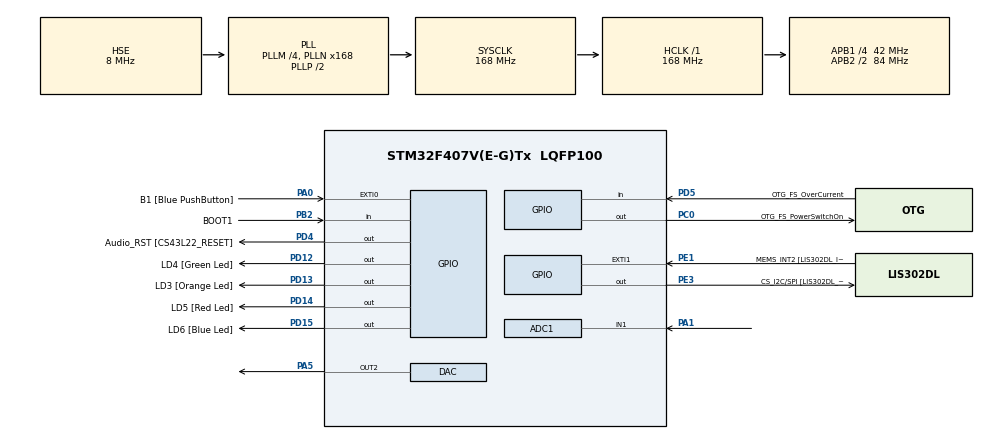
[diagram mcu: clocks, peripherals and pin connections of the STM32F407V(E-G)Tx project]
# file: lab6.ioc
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ADC1.Channel-0\#ChannelRegularConversion=ADC_CHANNEL_1
ADC1.ExternalTrigConv=ADC_EXTERNALTRIGCONV_T3_TRGO
ADC1.NbrOfConversionFlag=1
ADC1.Rank-0\#ChannelRegularConversion=1
ADC1.SamplingTime-0\#ChannelRegularConversion=ADC_SAMPLETIME_3CYCLES
ADC1.master=1
ARM.CMSIS.5.6.0.CMSISJjDSP=Source
DAC.DAC_Trigger2=DAC_TRIGGER_NONE
Mcu.Family=STM32F4
Mcu.Name=STM32F407V(E-G)Tx
Mcu.Package=LQFP100
NVIC.ADC_IRQn=true\:0\:0\:false\:false\:true\:true\:true\:true
NVIC.PriorityGroup=NVIC_PRIORITYGROUP_0
NVIC.TIM2_IRQn=true\:0\:0\:false\:false\:true\:true\:true\:true
PA0-WKUP.GPIO_Label=B1 [Blue PushButton]
PA0-WKUP.Signal=GPXTI0
PA1.Signal=ADCx_IN1
PA10.GPIO_Label=OTG_FS_ID
PA10.GPIO_Mode=GPIO_MODE_AF_PP
PA10.GPIO_PuPd=GPIO_NOPULL
PA10.GPIO_Speed=GPIO_SPEED_FREQ_LOW
PA10.Signal=USB_OTG_FS_ID
PA11.GPIO_Label=OTG_FS_DM
PA11.GPIO_Mode=GPIO_MODE_AF_PP
PA11.GPIO_PuPd=GPIO_NOPULL
PA11.GPIO_Speed=GPIO_SPEED_FREQ_LOW
PA11.Signal=USB_OTG_FS_DM
PA12.GPIO_Label=OTG_FS_DP
PA12.GPIO_Mode=GPIO_MODE_AF_PP
PA12.GPIO_PuPd=GPIO_NOPULL
PA12.GPIO_Speed=GPIO_SPEED_FREQ_LOW
PA12.Signal=USB_OTG_FS_DP
PA13.GPIO_Label=SWDIO
PA13.Signal=SYS_JTMS-SWDIO
PA14.GPIO_Label=SWCLK
PA14.Signal=SYS_JTCK-SWCLK
PA4.GPIO_Label=I2S3_WS [CS43L22_LRCK]
PA4.GPIO_Mode=GPIO_MODE_AF_PP
PA4.GPIO_PuPd=GPIO_NOPULL
PA4.GPIO_Speed=GPIO_SPEED_FREQ_LOW
PA4.Signal=I2S3_WS
PA5.Signal=COMP_DAC2_group
PA6.GPIO_Label=SPI1_MISO [LIS302DL_SDO]
PA6.GPIO_Mode=GPIO_MODE_AF_PP
PA6.GPIO_PuPd=GPIO_NOPULL
PA6.GPIO_Speed=GPIO_SPEED_FREQ_LOW
PA6.Signal=SPI1_MISO
PA7.GPIO_Label=SPI1_MOSI [LIS302DL_SDA/SDI/SDO]
PA7.GPIO_Mode=GPIO_MODE_AF_PP
PA7.GPIO_PuPd=GPIO_NOPULL
PA7.GPIO_Speed=GPIO_SPEED_FREQ_LOW
PA7.Signal=SPI1_MOSI
PA9.GPIO_Label=VBUS_FS
PA9.GPIO_Mode=GPIO_MODE_INPUT
PA9.GPIO_PuPd=GPIO_NOPULL
PA9.Signal=USB_OTG_FS_VBUS
PB10.GPIO_Label=CLK_IN [MP45DT02_CLK]
PB10.GPIO_Mode=GPIO_MODE_AF_PP
PB10.GPIO_PuPd=GPIO_NOPULL
PB10.GPIO_Speed=GPIO_SPEED_FREQ_LOW
PB10.Signal=I2S2_CK
PB2.GPIO_Label=BOOT1
PB2.GPIO_Mode=GPIO_MODE_INPUT
PB2.GPIO_PuPd=GPIO_NOPULL
PB2.Signal=GPIO_Input
PB3.GPIO_Label=SWO
PB3.Signal=SYS_JTDO-SWO
PB6.GPIO_Label=Audio_SCL [CS43L22_SCL]
PB6.GPIO_Mode=GPIO_MODE_AF_OD
PB6.GPIO_PuPd=GPIO_NOPULL
PB6.GPIO_Speed=GPIO_SPEED_FREQ_LOW
PB6.Signal=I2C1_SCL
PB9.GPIO_Label=Audio_SDA [CS43L22_SDA]
PB9.GPIO_Mode=GPIO_MODE_AF_OD
PB9.GPIO_PuPd=GPIO_NOPULL
PB9.GPIO_Speed=GPIO_SPEED_FREQ_LOW
PB9.Signal=I2C1_SDA
PC0.GPIO_Label=OTG_FS_PowerSwitchOn
PC0.GPIO_PuPd=GPIO_NOPULL
PC0.GPIO_Speed=GPIO_SPEED_FREQ_LOW
PC0.PinState=GPIO_PIN_SET
PC0.Signal=GPIO_Output
PC10.GPIO_Label=I2S3_SCK [CS43L22_SCLK]
PC10.GPIO_Mode=GPIO_MODE_AF_PP
PC10.GPIO_PuPd=GPIO_NOPULL
PC10.GPIO_Speed=GPIO_SPEED_FREQ_LOW
PC10.Signal=I2S3_CK
PC12.GPIO_Label=I2S3_SD [CS43L22_SDIN]
PC12.GPIO_Mode=GPIO_MODE_AF_PP
PC12.GPIO_PuPd=GPIO_NOPULL
PC12.GPIO_Speed=GPIO_SPEED_FREQ_LOW
PC12.Signal=I2S3_SD
PC14-OSC32_IN.GPIO_Label=PC14-OSC32_IN
PC14-OSC32_IN.Signal=RCC_OSC32_IN
PC15-OSC32_OUT.GPIO_Label=PC15-OSC32_OUT
PC15-OSC32_OUT.Signal=RCC_OSC32_OUT
PC3.GPIO_Label=PDM_OUT [MP45DT02_DOUT]
PC3.GPIO_Mode=GPIO_MODE_AF_PP
PC3.GPIO_PuPd=GPIO_NOPULL
PC3.GPIO_Speed=GPIO_SPEED_FREQ_LOW
PC3.Signal=I2S2_SD
PC7.GPIO_Label=I2S3_MCK [CS43L22_MCLK]
PC7.GPIO_Mode=GPIO_MODE_AF_PP
PC7.GPIO_PuPd=GPIO_NOPULL
PC7.GPIO_Speed=GPIO_SPEED_FREQ_LOW
PC7.Signal=I2S3_MCK
PD12.GPIO_Label=LD4 [Green Led]
PD12.GPIO_PuPd=GPIO_NOPULL
PD12.GPIO_Speed=GPIO_SPEED_FREQ_LOW
PD12.Signal=GPIO_Output
PD13.GPIO_Label=LD3 [Orange Led]
PD13.GPIO_PuPd=GPIO_NOPULL
PD13.GPIO_Speed=GPIO_SPEED_FREQ_LOW
PD13.Signal=GPIO_Output
PD14.GPIO_Label=LD5 [Red Led]
PD14.GPIO_PuPd=GPIO_NOPULL
PD14.GPIO_Speed=GPIO_SPEED_FREQ_LOW
PD14.Signal=GPIO_Output
PD15.GPIO_Label=LD6 [Blue Led]
PD15.GPIO_PuPd=GPIO_NOPULL
PD15.GPIO_Speed=GPIO_SPEED_FREQ_LOW
PD15.Signal=GPIO_Output
PD4.GPIO_Label=Audio_RST [CS43L22_RESET]
PD4.GPIO_PuPd=GPIO_NOPULL
PD4.GPIO_Speed=GPIO_SPEED_FREQ_LOW
PD4.Signal=GPIO_Output
PD5.GPIO_Label=OTG_FS_OverCurrent
PD5.GPIO_Mode=GPIO_MODE_INPUT
PD5.GPIO_PuPd=GPIO_NOPULL
PD5.Signal=GPIO_Input
PE1.GPIO_Label=MEMS_INT2 [LIS302DL_INT2]
PE1.GPIO_ModeDefaultEXTI=GPIO_MODE_EVT_RISING
PE1.GPIO_PuPd=GPIO_NOPULL
PE1.Signal=GPXTI1
PE3.GPIO_Label=CS_I2C/SPI [LIS302DL_CS_I2C/SPI]
PE3.GPIO_PuPd=GPIO_NOPULL
PE3.GPIO_Speed=GPIO_SPEED_FREQ_LOW
PE3.Signal=GPIO_Output
PH0-OSC_IN.GPIO_Label=PH0-OSC_IN
PH0-OSC_IN.Mode=HSE-External-Oscillator
PH0-OSC_IN.Signal=RCC_OSC_IN
PH1-OSC_OUT.GPIO_Label=PH1-OSC_OUT
PH1-OSC_OUT.Mode=HSE-External-Oscillator
PH1-OSC_OUT.Signal=RCC_OSC_OUT
ProjectManager.HeapSize=0x200
ProjectManager.StackSize=0x400
ProjectManager.TargetToolchain=STM32CubeIDE
RCC.48MHZClocksFreq_Value=48000000
RCC.AHBFreq_Value=168000000
RCC.APB1CLKDivider=RCC_HCLK_DIV4
RCC.APB1Freq_Value=42000000
RCC.APB1TimFreq_Value=84000000
RCC.APB2CLKDivider=RCC_HCLK_DIV2
RCC.APB2Freq_Value=84000000
RCC.APB2TimFreq_Value=168000000
RCC.CortexFreq_Value=168000000
RCC.HCLKFreq_Value=168000000
RCC.HSE_VALUE=8000000
RCC.HSI_VALUE=16000000
RCC.LSE_VALUE=32768
RCC.PLLM=4
RCC.PLLN=168
RCC.PLLQ=7
RCC.PLLSourceVirtual=RCC_PLLSOURCE_HSE
RCC.SYSCLKFreq_VALUE=168000000
RCC.SYSCLKSource=RCC_SYSCLKSOURCE_PLLCLK
RCC.VCOOutputFreq_Value=336000000
SH.ADCx_IN1.0=ADC1_IN1,IN1
SH.COMP_DAC2_group.0=DAC_OUT2,DAC_OUT2
TIM2.AutoReloadPreload=TIM_AUTORELOAD_PRELOAD_ENABLE
TIM2.Period=9
TIM2.Prescaler=83
TIM2.TIM_MasterOutputTrigger=TIM_TRGO_UPDATE
TIM3.AutoReloadPreload=TIM_AUTORELOAD_PRELOAD_ENABLE
TIM3.Period=19
TIM3.Prescaler=83
TIM3.TIM_MasterOutputTrigger=TIM_TRGO_UPDATE
VP_ARM.CMSIS_VS_CMSISJjDSP_1.7.0_5.6.0.Mode=CMSISJjDSP
VP_TIM2_VS_ClockSourceINT.Mode=Internal
VP_TIM3_VS_ClockSourceINT.Mode=Internal
board=STM32F407G-DISC1

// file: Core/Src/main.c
/* USER CODE BEGIN Header */
/**
  ******************************************************************************
  * @file           : main.c
  * @brief          : Main program body
  ******************************************************************************
  * @attention
  *
  * Copyright (c) 2025 STMicroelectronics.
  * All rights reserved.
  *
  * This software is licensed under terms that can be found in the LICENSE file
  * in the root directory of this software component.
  * If no LICENSE file comes with this software, it is provided AS-IS.
  *
  ******************************************************************************
  */
/* USER CODE END Header */
#include "main.h"

/* USER CODE BEGIN Includes */
#include "arm_math.h"
/* USER CODE END Includes */

/* USER CODE BEGIN PD */
#define FFT_LENGTH 1024
/* USER CODE END PD */

ADC_HandleTypeDef hadc1;

DAC_HandleTypeDef hdac;

TIM_HandleTypeDef htim2;
TIM_HandleTypeDef htim3;

/* USER CODE BEGIN PV */
float32_t input_waveform[FFT_LENGTH];
float32_t fft_waveform[FFT_LENGTH];
float32_t fft_power[FFT_LENGTH / 2];
uint32_t array_index = 0;

void HAL_ADC_ConvCpltCallback(ADC_HandleTypeDef* hadc) {
	input_waveform[array_index] = (float32_t) HAL_ADC_GetValue(hadc) - 2048.0f;
	array_index++;
	if (array_index >= FFT_LENGTH) {
		array_index = 0;

		arm_rfft_fast_instance_f32 fft;
		arm_rfft_fast_init_f32(&fft, FFT_LENGTH);
		arm_rfft_fast_f32(&fft, input_waveform, fft_waveform, 0);
		arm_cmplx_mag_f32(fft_waveform, fft_power, FFT_LENGTH / 2);
	}
}
/* USER CODE END PV */

void SystemClock_Config(void);
static void MX_GPIO_Init(void);
static void MX_DAC_Init(void);
static void MX_TIM2_Init(void);
static void MX_ADC1_Init(void);
static void MX_TIM3_Init(void);

int main(void)
{

  /* MCU Configuration--------------------------------------------------------*/

  /* Reset of all peripherals, Initializes the Flash interface and the Systick. */
  HAL_Init();

  /* Configure the system clock */
  SystemClock_Config();

  /* Initialize all configured peripherals */
  MX_GPIO_Init();
  MX_DAC_Init();
  MX_TIM2_Init();
  MX_ADC1_Init();
  MX_TIM3_Init();
  /* USER CODE BEGIN 2 */
//  HAL_DAC_Start_DMA(&hdac, DAC_CHANNEL_2, (uint32_t*) precomp, 1024, DAC_ALIGN_12B_R);
//  HAL_DAC_Start(&hdac, DAC_CHANNEL_2);
//  dds_set(5000, 2);
  HAL_ADC_Start_IT(&hadc1);
  HAL_TIM_Base_Start(&htim3);
//  HAL_TIM_Base_Start(&htim2);
//  HAL_TIM_Base_Start_IT(&htim2);
  /* USER CODE END 2 */

  /* Infinite loop */
  while (1)
  {

  }
}

void SystemClock_Config(void)
{
  RCC_OscInitTypeDef RCC_OscInitStruct = {0};
  RCC_ClkInitTypeDef RCC_ClkInitStruct = {0};

  /** Configure the main internal regulator output voltage
  */
  __HAL_RCC_PWR_CLK_ENABLE();
  __HAL_PWR_VOLTAGESCALING_CONFIG(PWR_REGULATOR_VOLTAGE_SCALE1);

  /** Initializes the RCC Oscillators according to the specified parameters
  * in the RCC_OscInitTypeDef structure.
  */
  RCC_OscInitStruct.OscillatorType = RCC_OSCILLATORTYPE_HSE;
  RCC_OscInitStruct.HSEState = RCC_HSE_ON;
  RCC_OscInitStruct.PLL.PLLState = RCC_PLL_ON;
  RCC_OscInitStruct.PLL.PLLSource = RCC_PLLSOURCE_HSE;
  RCC_OscInitStruct.PLL.PLLM = 4;
  RCC_OscInitStruct.PLL.PLLN = 168;
  RCC_OscInitStruct.PLL.PLLP = RCC_PLLP_DIV2;
  RCC_OscInitStruct.PLL.PLLQ = 7;
  if (HAL_RCC_OscConfig(&RCC_OscInitStruct) != HAL_OK)
  {
    Error_Handler();
  }

  /** Initializes the CPU, AHB and APB buses clocks
  */
  RCC_ClkInitStruct.ClockType = RCC_CLOCKTYPE_HCLK|RCC_CLOCKTYPE_SYSCLK
                              |RCC_CLOCKTYPE_PCLK1|RCC_CLOCKTYPE_PCLK2;
  RCC_ClkInitStruct.SYSCLKSource = RCC_SYSCLKSOURCE_PLLCLK;
  RCC_ClkInitStruct.AHBCLKDivider = RCC_SYSCLK_DIV1;
  RCC_ClkInitStruct.APB1CLKDivider = RCC_HCLK_DIV4;
  RCC_ClkInitStruct.APB2CLKDivider = RCC_HCLK_DIV2;

  if (HAL_RCC_ClockConfig(&RCC_ClkInitStruct, FLASH_LATENCY_5) != HAL_OK)
  {
    Error_Handler();
  }
}

static void MX_ADC1_Init(void)
{

  ADC_ChannelConfTypeDef sConfig = {0};

  /** Configure the global features of the ADC (Clock, Resolution, Data Alignment and number of conversion)
  */
  hadc1.Instance = ADC1;
  hadc1.Init.ClockPrescaler = ADC_CLOCK_SYNC_PCLK_DIV4;
  hadc1.Init.Resolution = ADC_RESOLUTION_12B;
  hadc1.Init.ScanConvMode = DISABLE;
  hadc1.Init.ContinuousConvMode = DISABLE;
  hadc1.Init.DiscontinuousConvMode = DISABLE;
  hadc1.Init.ExternalTrigConvEdge = ADC_EXTERNALTRIGCONVEDGE_RISING;
  hadc1.Init.ExternalTrigConv = ADC_EXTERNALTRIGCONV_T3_TRGO;
  hadc1.Init.DataAlign = ADC_DATAALIGN_RIGHT;
  hadc1.Init.NbrOfConversion = 1;
  hadc1.Init.DMAContinuousRequests = DISABLE;
  hadc1.Init.EOCSelection = ADC_EOC_SINGLE_CONV;
  if (HAL_ADC_Init(&hadc1) != HAL_OK)
  {
    Error_Handler();
  }

  /** Configure for the selected ADC regular channel its corresponding rank in the sequencer and its sample time.
  */
  sConfig.Channel = ADC_CHANNEL_1;
  sConfig.Rank = 1;
  sConfig.SamplingTime = ADC_SAMPLETIME_3CYCLES;
  if (HAL_ADC_ConfigChannel(&hadc1, &sConfig) != HAL_OK)
  {
    Error_Handler();
  }

}

static void MX_DAC_Init(void)
{

  DAC_ChannelConfTypeDef sConfig = {0};

  /** DAC Initialization
  */
  hdac.Instance = DAC;
  if (HAL_DAC_Init(&hdac) != HAL_OK)
  {
    Error_Handler();
  }

  /** DAC channel OUT2 config
  */
  sConfig.DAC_Trigger = DAC_TRIGGER_NONE;
  sConfig.DAC_OutputBuffer = DAC_OUTPUTBUFFER_ENABLE;
  if (HAL_DAC_ConfigChannel(&hdac, &sConfig, DAC_CHANNEL_2) != HAL_OK)
  {
    Error_Handler();
  }

}

static void MX_TIM2_Init(void)
{

  TIM_ClockConfigTypeDef sClockSourceConfig = {0};
  TIM_MasterConfigTypeDef sMasterConfig = {0};

  htim2.Instance = TIM2;
  htim2.Init.Prescaler = 83;
  htim2.Init.CounterMode = TIM_COUNTERMODE_UP;
  htim2.Init.Period = 9;
  htim2.Init.ClockDivision = TIM_CLOCKDIVISION_DIV1;
  htim2.Init.AutoReloadPreload = TIM_AUTORELOAD_PRELOAD_ENABLE;
  if (HAL_TIM_Base_Init(&htim2) != HAL_OK)
  {
    Error_Handler();
  }
  sClockSourceConfig.ClockSource = TIM_CLOCKSOURCE_INTERNAL;
  if (HAL_TIM_ConfigClockSource(&htim2, &sClockSourceConfig) != HAL_OK)
  {
    Error_Handler();
  }
  sMasterConfig.MasterOutputTrigger = TIM_TRGO_UPDATE;
  sMasterConfig.MasterSlaveMode = TIM_MASTERSLAVEMODE_DISABLE;
  if (HAL_TIMEx_MasterConfigSynchronization(&htim2, &sMasterConfig) != HAL_OK)
  {
    Error_Handler();
  }

}

static void MX_TIM3_Init(void)
{

  TIM_ClockConfigTypeDef sClockSourceConfig = {0};
  TIM_MasterConfigTypeDef sMasterConfig = {0};

  htim3.Instance = TIM3;
  htim3.Init.Prescaler = 83;
  htim3.Init.CounterMode = TIM_COUNTERMODE_UP;
  htim3.Init.Period = 19;
  htim3.Init.ClockDivision = TIM_CLOCKDIVISION_DIV1;
  htim3.Init.AutoReloadPreload = TIM_AUTORELOAD_PRELOAD_ENABLE;
  if (HAL_TIM_Base_Init(&htim3) != HAL_OK)
  {
    Error_Handler();
  }
  sClockSourceConfig.ClockSource = TIM_CLOCKSOURCE_INTERNAL;
  if (HAL_TIM_ConfigClockSource(&htim3, &sClockSourceConfig) != HAL_OK)
  {
    Error_Handler();
  }
  sMasterConfig.MasterOutputTrigger = TIM_TRGO_UPDATE;
  sMasterConfig.MasterSlaveMode = TIM_MASTERSLAVEMODE_DISABLE;
  if (HAL_TIMEx_MasterConfigSynchronization(&htim3, &sMasterConfig) != HAL_OK)
  {
    Error_Handler();
  }

}

static void MX_GPIO_Init(void)
{
  GPIO_InitTypeDef GPIO_InitStruct = {0};

  /* GPIO Ports Clock Enable */
  __HAL_RCC_GPIOE_CLK_ENABLE();
  __HAL_RCC_GPIOC_CLK_ENABLE();
  __HAL_RCC_GPIOH_CLK_ENABLE();
  __HAL_RCC_GPIOA_CLK_ENABLE();
  __HAL_RCC_GPIOB_CLK_ENABLE();
  __HAL_RCC_GPIOD_CLK_ENABLE();

  /*Configure GPIO pin Output Level */
  HAL_GPIO_WritePin(CS_I2C_SPI_GPIO_Port, CS_I2C_SPI_Pin, GPIO_PIN_RESET);

  /*Configure GPIO pin Output Level */
  HAL_GPIO_WritePin(OTG_FS_PowerSwitchOn_GPIO_Port, OTG_FS_PowerSwitchOn_Pin, GPIO_PIN_SET);

  /*Configure GPIO pin Output Level */
  HAL_GPIO_WritePin(GPIOD, LD4_Pin|LD3_Pin|LD5_Pin|LD6_Pin
                          |Audio_RST_Pin, GPIO_PIN_RESET);

  /*Configure GPIO pin : CS_I2C_SPI_Pin */
  GPIO_InitStruct.Pin = CS_I2C_SPI_Pin;
  GPIO_InitStruct.Mode = GPIO_MODE_OUTPUT_PP;
  GPIO_InitStruct.Pull = GPIO_NOPULL;
  GPIO_InitStruct.Speed = GPIO_SPEED_FREQ_LOW;
  HAL_GPIO_Init(CS_I2C_SPI_GPIO_Port, &GPIO_InitStruct);

  /*Configure GPIO pin : OTG_FS_PowerSwitchOn_Pin */
  GPIO_InitStruct.Pin = OTG_FS_PowerSwitchOn_Pin;
  GPIO_InitStruct.Mode = GPIO_MODE_OUTPUT_PP;
  GPIO_InitStruct.Pull = GPIO_NOPULL;
  GPIO_InitStruct.Speed = GPIO_SPEED_FREQ_LOW;
  HAL_GPIO_Init(OTG_FS_PowerSwitchOn_GPIO_Port, &GPIO_InitStruct);

  /*Configure GPIO pin : PDM_OUT_Pin */
  GPIO_InitStruct.Pin = PDM_OUT_Pin;
  GPIO_InitStruct.Mode = GPIO_MODE_AF_PP;
  GPIO_InitStruct.Pull = GPIO_NOPULL;
  GPIO_InitStruct.Speed = GPIO_SPEED_FREQ_LOW;
  GPIO_InitStruct.Alternate = GPIO_AF5_SPI2;
  HAL_GPIO_Init(PDM_OUT_GPIO_Port, &GPIO_InitStruct);

  /*Configure GPIO pin : B1_Pin */
  GPIO_InitStruct.Pin = B1_Pin;
  GPIO_InitStruct.Mode = GPIO_MODE_IT_RISING;
  GPIO_InitStruct.Pull = GPIO_NOPULL;
  HAL_GPIO_Init(B1_GPIO_Port, &GPIO_InitStruct);

  /*Configure GPIO pin : I2S3_WS_Pin */
  GPIO_InitStruct.Pin = I2S3_WS_Pin;
  GPIO_InitStruct.Mode = GPIO_MODE_AF_PP;
  GPIO_InitStruct.Pull = GPIO_NOPULL;
  GPIO_InitStruct.Speed = GPIO_SPEED_FREQ_LOW;
  GPIO_InitStruct.Alternate = GPIO_AF6_SPI3;
  HAL_GPIO_Init(I2S3_WS_GPIO_Port, &GPIO_InitStruct);

  /*Configure GPIO pins : SPI1_MISO_Pin SPI1_MOSI_Pin */
  GPIO_InitStruct.Pin = SPI1_MISO_Pin|SPI1_MOSI_Pin;
  GPIO_InitStruct.Mode = GPIO_MODE_AF_PP;
  GPIO_InitStruct.Pull = GPIO_NOPULL;
  GPIO_InitStruct.Speed = GPIO_SPEED_FREQ_LOW;
  GPIO_InitStruct.Alternate = GPIO_AF5_SPI1;
  HAL_GPIO_Init(GPIOA, &GPIO_InitStruct);

  /*Configure GPIO pin : BOOT1_Pin */
  GPIO_InitStruct.Pin = BOOT1_Pin;
  GPIO_InitStruct.Mode = GPIO_MODE_INPUT;
  GPIO_InitStruct.Pull = GPIO_NOPULL;
  HAL_GPIO_Init(BOOT1_GPIO_Port, &GPIO_InitStruct);

  /*Configure GPIO pin : CLK_IN_Pin */
  GPIO_InitStruct.Pin = CLK_IN_Pin;
  GPIO_InitStruct.Mode = GPIO_MODE_AF_PP;
  GPIO_InitStruct.Pull = GPIO_NOPULL;
  GPIO_InitStruct.Speed = GPIO_SPEED_FREQ_LOW;
  GPIO_InitStruct.Alternate = GPIO_AF5_SPI2;
  HAL_GPIO_Init(CLK_IN_GPIO_Port, &GPIO_InitStruct);

  /*Configure GPIO pins : LD4_Pin LD3_Pin LD5_Pin LD6_Pin
                           Audio_RST_Pin */
  GPIO_InitStruct.Pin = LD4_Pin|LD3_Pin|LD5_Pin|LD6_Pin
                          |Audio_RST_Pin;
  GPIO_InitStruct.Mode = GPIO_MODE_OUTPUT_PP;
  GPIO_InitStruct.Pull = GPIO_NOPULL;
  GPIO_InitStruct.Speed = GPIO_SPEED_FREQ_LOW;
  HAL_GPIO_Init(GPIOD, &GPIO_InitStruct);

  /*Configure GPIO pins : I2S3_MCK_Pin I2S3_SCK_Pin I2S3_SD_Pin */
  GPIO_InitStruct.Pin = I2S3_MCK_Pin|I2S3_SCK_Pin|I2S3_SD_Pin;
  GPIO_InitStruct.Mode = GPIO_MODE_AF_PP;
  GPIO_InitStruct.Pull = GPIO_NOPULL;
  GPIO_InitStruct.Speed = GPIO_SPEED_FREQ_LOW;
  GPIO_InitStruct.Alternate = GPIO_AF6_SPI3;
  HAL_GPIO_Init(GPIOC, &GPIO_InitStruct);

  /*Configure GPIO pin : VBUS_FS_Pin */
  GPIO_InitStruct.Pin = VBUS_FS_Pin;
  GPIO_InitStruct.Mode = GPIO_MODE_INPUT;
  GPIO_InitStruct.Pull = GPIO_NOPULL;
  HAL_GPIO_Init(VBUS_FS_GPIO_Port, &GPIO_InitStruct);

  /*Configure GPIO pins : OTG_FS_ID_Pin OTG_FS_DM_Pin OTG_FS_DP_Pin */
  GPIO_InitStruct.Pin = OTG_FS_ID_Pin|OTG_FS_DM_Pin|OTG_FS_DP_Pin;
  GPIO_InitStruct.Mode = GPIO_MODE_AF_PP;
  GPIO_InitStruct.Pull = GPIO_NOPULL;
  GPIO_InitStruct.Speed = GPIO_SPEED_FREQ_LOW;
  GPIO_InitStruct.Alternate = GPIO_AF10_OTG_FS;
  HAL_GPIO_Init(GPIOA, &GPIO_InitStruct);

  /*Configure GPIO pin : OTG_FS_OverCurrent_Pin */
  GPIO_InitStruct.Pin = OTG_FS_OverCurrent_Pin;
  GPIO_InitStruct.Mode = GPIO_MODE_INPUT;
  GPIO_InitStruct.Pull = GPIO_NOPULL;
  HAL_GPIO_Init(OTG_FS_OverCurrent_GPIO_Port, &GPIO_InitStruct);

  /*Configure GPIO pins : Audio_SCL_Pin Audio_SDA_Pin */
  GPIO_InitStruct.Pin = Audio_SCL_Pin|Audio_SDA_Pin;
  GPIO_InitStruct.Mode = GPIO_MODE_AF_OD;
  GPIO_InitStruct.Pull = GPIO_NOPULL;
  GPIO_InitStruct.Speed = GPIO_SPEED_FREQ_LOW;
  GPIO_InitStruct.Alternate = GPIO_AF4_I2C1;
  HAL_GPIO_Init(GPIOB, &GPIO_InitStruct);

  /*Configure GPIO pin : MEMS_INT2_Pin */
  GPIO_InitStruct.Pin = MEMS_INT2_Pin;
  GPIO_InitStruct.Mode = GPIO_MODE_EVT_RISING;
  GPIO_InitStruct.Pull = GPIO_NOPULL;
  HAL_GPIO_Init(MEMS_INT2_GPIO_Port, &GPIO_InitStruct);

}

void Error_Handler(void)
{
  __disable_irq();
  while (1)
  {
  }
}
